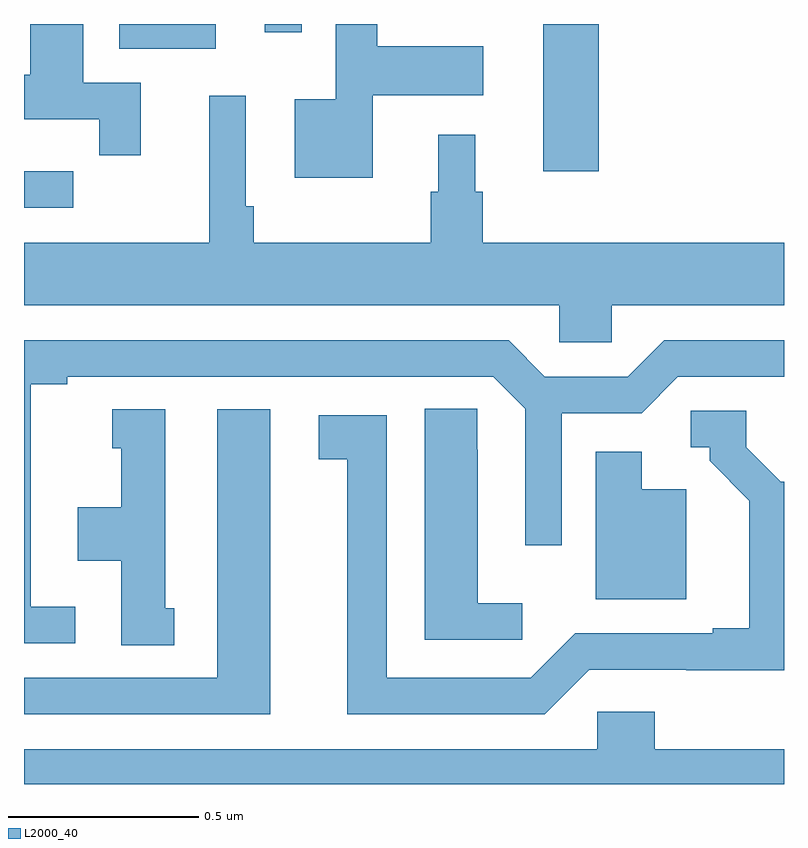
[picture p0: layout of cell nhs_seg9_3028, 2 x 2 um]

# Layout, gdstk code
import gdstk
lib = gdstk.Library(unit=1e-6, precision=1e-09)
def R(c, l, rs):  # rectangles x0, y0, x1, y1
    for r in rs: c.add(gdstk.rectangle(r[:2], r[2:], *l))
def P(c, l, *ps):  # polygons
    for p in ps: c.add(gdstk.Polygon(p, *l))
L2000_40 = (2000, 40)

nhs_seg9_3028 = lib.new_cell('nhs_seg9_3028')
R(nhs_seg9_3028, L2000_40, [(149.366,1190.112,149.513,1190.5), (148.25,1190.435,148.504,1190.5), (148.634,1190.478,148.731,1190.5)])
P(nhs_seg9_3028, L2000_40, [(148.307,1190.346),(148.156,1190.346),(148.156,1190.5),(148.016,1190.5),(148.016,1190.367),(148,1190.367),(148,1190.25),(148.198,1190.25),(148.198,1190.154),(148.307,1190.154)],
  [(148.918,1190.312),(149.209,1190.312),(149.209,1190.442),(148.93,1190.442),(148.93,1190.5),(148.821,1190.5),(148.821,1190.302),(148.712,1190.302),(148.712,1190.096),(148.918,1190.096)],
  [(149.547,1189.76),(150,1189.76),(150,1189.924),(149.207,1189.924),(149.207,1190.058),(149.188,1190.058),(149.188,1190.209),(149.09,1190.209),(149.09,1190.058),(149.071,1190.058),(149.071,1189.924),(148.604,1189.924),(148.604,1190.02),(148.584,1190.02),(148.584,1190.311),(148.487,1190.311),(148.487,1189.924),(148,1189.924),(148,1189.76),(149.409,1189.76),(149.409,1189.662),(149.547,1189.662)],
  [(148.129,1190.112),(148.016,1190.112),(148.016,1190.113),(148,1190.113),(148,1190.016),(148.129,1190.016)],
  [(148.135,1188.966),(148.018,1188.966),(148.018,1189.552),(148.114,1189.552),(148.114,1189.572),(149.235,1189.572),(149.319,1189.488),(149.319,1189.128),(149.415,1189.128),(149.415,1189.476),(149.625,1189.476),(149.721,1189.572),(150,1189.572),(150,1189.668),(149.685,1189.668),(149.589,1189.572),(149.371,1189.572),(149.275,1189.668),(148,1189.668),(148,1188.87),(148.135,1188.87)],
  [(149.311,1188.976),(149.194,1188.976),(149.194,1189.379),(149.193,1189.379),(149.193,1189.487),(149.054,1189.487),(149.054,1188.879),(149.311,1188.879)],
  [(148.396,1188.963),(148.372,1188.963),(148.372,1189.486),(148.232,1189.486),(148.232,1189.383),(148.256,1189.383),(148.256,1189.228),(148.142,1189.228),(148.142,1189.088),(148.256,1189.088),(148.256,1188.865),(148.396,1188.865)],
  [(148.648,1189.486),(148.508,1189.486),(148.508,1188.78),(148,1188.78),(148,1188.684),(148.648,1188.684)],
  [(149.487,1188.801),(149.743,1188.801),(149.743,1188.8),(150,1188.8),(150,1189.296),(149.991,1189.296),(149.901,1189.386),(149.901,1189.482),(149.754,1189.482),(149.754,1189.386),(149.804,1189.386),(149.804,1189.351),(149.909,1189.246),(149.909,1188.91),(149.813,1188.91),(149.813,1188.897),(149.451,1188.897),(149.334,1188.78),(148.954,1188.78),(148.954,1189.47),(148.776,1189.47),(148.776,1189.354),(148.85,1189.354),(148.85,1188.684),(149.37,1188.684)],
  [(149.743,1189.276),(149.626,1189.276),(149.626,1189.375),(149.504,1189.375),(149.504,1188.986),(149.743,1188.986)],
  [(150,1188.592),(149.66,1188.592),(149.66,1188.69),(149.508,1188.69),(149.508,1188.592),(148,1188.592),(148,1188.5),(150,1188.5)])

lib.write_gds('nhs_seg9_3028.gds')
